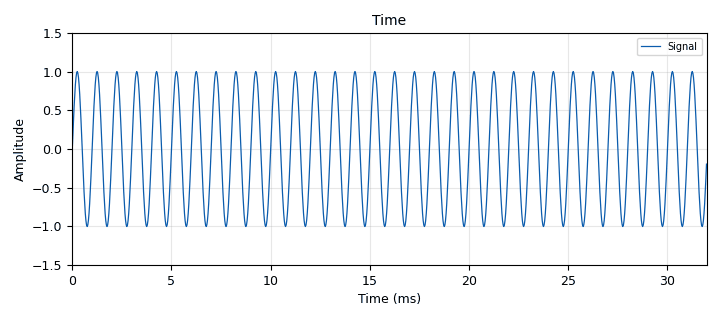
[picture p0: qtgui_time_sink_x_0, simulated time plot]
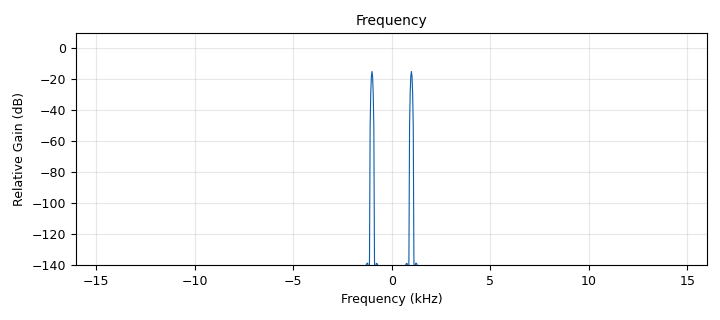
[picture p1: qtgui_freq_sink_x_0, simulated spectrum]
options:
  parameters:
    description: Simplest GNU Radio example
    generate_options: qt_gui
    id: sine_wave
    output_language: python
    title: Sine Wave Example
  states: {}

blocks:
- name: samp_rate
  id: variable
  parameters:
    value: '32000'
  states: {}
- name: analog_sig_source_x_0
  id: analog_sig_source_x
  parameters:
    amp: '1'
    freq: '1000'
    offset: '0'
    phase: '0'
    samp_rate: samp_rate
    type: float
    waveform: analog.GR_SIN_WAVE
  states: {}
- name: blocks_throttle_0
  id: blocks_throttle
  parameters:
    samples_per_second: samp_rate
    type: float
  states: {}
- name: qtgui_time_sink_x_0
  id: qtgui_time_sink_x
  parameters:
    label1: Signal
    name: Time
    size: '1024'
    srate: samp_rate
    type: float
    ymax: '1.5'
    ymin: '-1.5'
  states: {}
- name: qtgui_freq_sink_x_0
  id: qtgui_freq_sink_x
  parameters:
    bw: samp_rate
    fc: '0'
    fftsize: '1024'
    name: Frequency
    type: float
  states: {}

connections:
- [analog_sig_source_x_0, '0', blocks_throttle_0, '0']
- [blocks_throttle_0, '0', qtgui_time_sink_x_0, '0']
- [blocks_throttle_0, '0', qtgui_freq_sink_x_0, '0']

metadata:
  file_format: 1
  grc_version: 3.10.12.0
